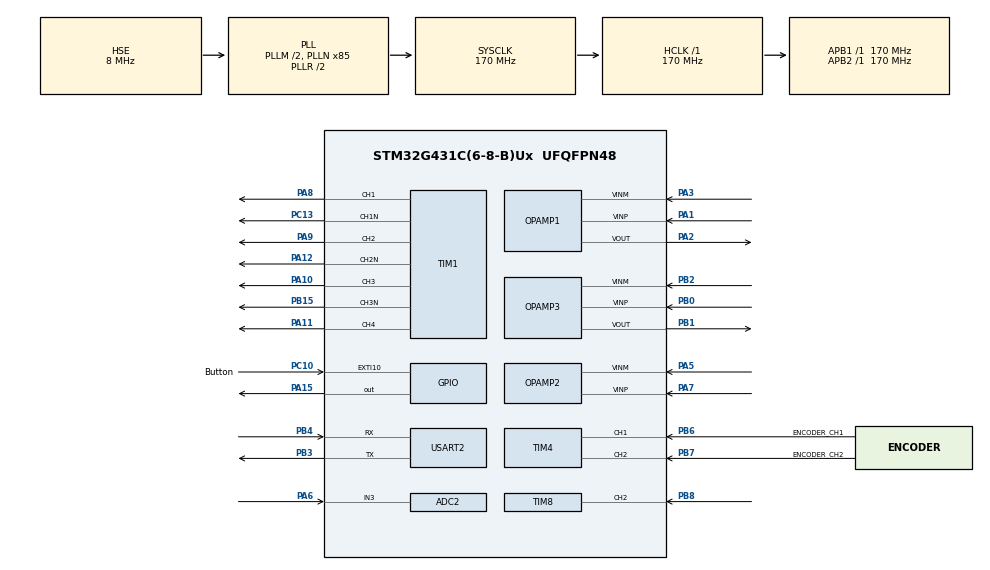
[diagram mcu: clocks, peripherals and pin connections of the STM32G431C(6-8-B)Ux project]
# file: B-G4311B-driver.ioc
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ADC1.ClockPrescaler=ADC_CLOCK_ASYNC_DIV4
ADC1.DataAlign=ADC_DATAALIGN_RIGHT
ADC1.EnableInjectedConversion=ENABLE
ADC1.EnableRegularConversion=DISABLE
ADC1.ExternalTrigInjecConv=ADC_EXTERNALTRIGINJEC_T1_CC4
ADC1.InjNumberOfConversion=2
ADC1.InjectedChannel-2\#ChannelInjectedConversion=ADC_CHANNEL_3
ADC1.InjectedChannel-3\#ChannelInjectedConversion=ADC_CHANNEL_12
ADC1.InjectedOffset-3\#ChannelInjectedConversion=0
ADC1.InjectedOffsetNumber-2\#ChannelInjectedConversion=ADC_OFFSET_NONE
ADC1.InjectedOffsetNumber-3\#ChannelInjectedConversion=ADC_OFFSET_1
ADC1.InjectedOffsetSaturation-3\#ChannelInjectedConversion=ENABLE
ADC1.InjectedOffsetSign-3\#ChannelInjectedConversion=ADC_OFFSET_SIGN_POSITIVE
ADC1.InjectedRank-2\#ChannelInjectedConversion=1
ADC1.InjectedRank-3\#ChannelInjectedConversion=2
ADC1.InjectedSamplingTime-2\#ChannelInjectedConversion=ADC_SAMPLETIME_6CYCLES_5
ADC1.InjectedSamplingTime-3\#ChannelInjectedConversion=ADC_SAMPLETIME_6CYCLES_5
ADC1.master=1
ADC2.ClockPrescaler=ADC_CLOCK_ASYNC_DIV4
ADC2.DataAlign=ADC_DATAALIGN_RIGHT
ADC2.EnableInjectedConversion=ENABLE
ADC2.EnableRegularConversion=DISABLE
ADC2.ExternalTrigInjecConv=ADC_EXTERNALTRIGINJEC_T1_CC4
ADC2.InjNumberOfConversion=1
ADC2.InjectedChannel-1\#ChannelInjectedConversion=ADC_CHANNEL_3
ADC2.InjectedOffset-1\#ChannelInjectedConversion=0
ADC2.InjectedOffsetNumber-1\#ChannelInjectedConversion=ADC_OFFSET_1
ADC2.InjectedOffsetSaturation-1\#ChannelInjectedConversion=ENABLE
ADC2.InjectedOffsetSign-1\#ChannelInjectedConversion=ADC_OFFSET_SIGN_POSITIVE
ADC2.InjectedRank-1\#ChannelInjectedConversion=1
ADC2.InjectedSamplingTime-1\#ChannelInjectedConversion=ADC_SAMPLETIME_6CYCLES_5
ARM.CMSIS.5.6.0.CMSISJjDSP=Library
Mcu.Family=STM32G4
Mcu.Name=STM32G431C(6-8-B)Ux
Mcu.Package=UFQFPN48
NVIC.ADC1_2_IRQn=true\:3\:0\:true\:false\:true\:true\:true
NVIC.EXTI15_10_IRQn=true\:15\:0\:true\:false\:true\:true\:true
NVIC.PriorityGroup=NVIC_PRIORITYGROUP_4
NVIC.TIM4_IRQn=true\:1\:0\:true\:false\:true\:true\:true
NVIC.USART2_IRQn=true\:2\:0\:true\:false\:true\:true\:true
OPAMP1.PgaGain=OPAMP_PGA_GAIN_16_OR_MINUS_15
OPAMP1.SelfCalibration=Enable
OPAMP2.PgaGain=OPAMP_PGA_GAIN_16_OR_MINUS_15
OPAMP2.SelfCalibration=Enable
OPAMP3.PgaGain=OPAMP_PGA_GAIN_16_OR_MINUS_15
OPAMP3.SelfCalibration=Enable
PA0.Signal=ADC1_IN1
PA1.Mode=PGA Connected-INVERTINGINPUT_IO0_BIAS
PA1.Signal=OPAMP1_VINP
PA10.GPIO_PuPd=GPIO_PULLDOWN
PA10.GPIO_Speed=GPIO_SPEED_FREQ_HIGH
PA10.Signal=S_TIM1_CH3
PA11.Signal=S_TIM1_CH4
PA12.GPIO_PuPd=GPIO_PULLDOWN
PA12.GPIO_Speed=GPIO_SPEED_FREQ_HIGH
PA12.Mode=PWM Generation2 CH2 CH2N
PA12.Signal=TIM1_CH2N
PA13.Signal=SYS_JTMS-SWDIO
PA14.Signal=SYS_JTCK-SWCLK
PA15.GPIO_Speed=GPIO_SPEED_FREQ_HIGH
PA15.Signal=GPIO_Output
PA2.Signal=SharedAnalog_PA2
PA3.Mode=PGA Connected-INVERTINGINPUT_IO0_BIAS
PA3.Signal=OPAMP1_VINM
PA5.Mode=PGA Connected-INVERTINGINPUT_IO0_BIAS
PA5.Signal=OPAMP2_VINM
PA6.Signal=SharedAnalog_PA6
PA7.Mode=PGA Connected-INVERTINGINPUT_IO0_BIAS
PA7.Signal=OPAMP2_VINP
PA8.GPIO_PuPd=GPIO_PULLDOWN
PA8.GPIO_Speed=GPIO_SPEED_FREQ_HIGH
PA8.Signal=S_TIM1_CH1
PA9.GPIO_PuPd=GPIO_PULLDOWN
PA9.GPIO_Speed=GPIO_SPEED_FREQ_HIGH
PA9.Signal=S_TIM1_CH2
PB0.Mode=PGA Connected-INVERTINGINPUT_IO0_BIAS
PB0.Signal=OPAMP3_VINP
PB1.Signal=SharedAnalog_PB1
PB15.GPIO_PuPd=GPIO_PULLDOWN
PB15.GPIO_Speed=GPIO_SPEED_FREQ_HIGH
PB15.Mode=PWM Generation3 CH3 CH3N
PB15.Signal=TIM1_CH3N
PB2.Mode=PGA Connected-INVERTINGINPUT_IO0_BIAS
PB2.Signal=OPAMP3_VINM
PB3.GPIO_Speed=GPIO_SPEED_FREQ_HIGH
PB3.Mode=Asynchronous
PB3.Signal=USART2_TX
PB4.GPIO_Speed=GPIO_SPEED_FREQ_HIGH
PB4.Mode=Asynchronous
PB4.Signal=USART2_RX
PB6.GPIO_Label=ENCODER_CH1
PB6.GPIO_ModeDefaultPP=GPIO_MODE_AF_PP
PB6.GPIO_PuPd=GPIO_PULLDOWN
PB6.GPIO_Speed=GPIO_SPEED_FREQ_HIGH
PB6.Signal=S_TIM4_CH1
PB7.GPIO_Label=ENCODER_CH2
PB7.GPIO_ModeDefaultPP=GPIO_MODE_AF_PP
PB7.GPIO_PuPd=GPIO_PULLDOWN
PB7.GPIO_Speed=GPIO_SPEED_FREQ_HIGH
PB7.Signal=S_TIM4_CH2
PB8-BOOT0.GPIO_ModeDefaultPP=GPIO_MODE_AF_PP
PB8-BOOT0.GPIO_PuPd=GPIO_PULLDOWN
PB8-BOOT0.GPIO_Speed=GPIO_SPEED_FREQ_HIGH
PB8-BOOT0.Signal=S_TIM8_CH2
PC10.GPIO_Label=Button
PC10.Signal=GPXTI10
PC13.GPIO_PuPd=GPIO_PULLDOWN
PC13.Mode=PWM Generation1 CH1 CH1N
PC13.Signal=TIM1_CH1N
PF0-OSC_IN.Mode=HSE-External-Oscillator
PF0-OSC_IN.Signal=RCC_OSC_IN
PF1-OSC_OUT.Mode=HSE-External-Oscillator
PF1-OSC_OUT.Signal=RCC_OSC_OUT
ProjectManager.HeapSize=0x200
ProjectManager.StackSize=0x400
ProjectManager.TargetToolchain=STM32CubeIDE
RCC.ADC12Freq_Value=170000000
RCC.AHBFreq_Value=170000000
RCC.APB1Freq_Value=170000000
RCC.APB1TimFreq_Value=170000000
RCC.APB2Freq_Value=170000000
RCC.APB2TimFreq_Value=170000000
RCC.CortexFreq_Value=170000000
RCC.EXTERNAL_CLOCK_VALUE=12288000
RCC.HCLKFreq_Value=170000000
RCC.HSE_VALUE=8000000
RCC.HSI48_VALUE=48000000
RCC.HSI_VALUE=16000000
RCC.LSE_VALUE=32768
RCC.PLLM=RCC_PLLM_DIV2
RCC.PLLN=85
RCC.PLLSourceVirtual=RCC_PLLSOURCE_HSE
RCC.SYSCLKFreq_VALUE=170000000
RCC.SYSCLKSource=RCC_SYSCLKSOURCE_PLLCLK
RCC.USBFreq_Value=170000000
RCC.VCOOutputFreq_Value=340000000
SH.S_TIM1_CH1.0=TIM1_CH1,PWM Generation1 CH1 CH1N
SH.S_TIM1_CH2.0=TIM1_CH2,PWM Generation2 CH2 CH2N
SH.S_TIM1_CH3.0=TIM1_CH3,PWM Generation3 CH3 CH3N
SH.S_TIM1_CH4.0=TIM1_CH4,PWM Generation4 CH4
SH.S_TIM4_CH1.0=TIM4_CH1,Encoder_Interface
SH.S_TIM4_CH2.0=TIM4_CH2,Encoder_Interface
SH.S_TIM8_CH2.0=TIM8_CH2,Input_Capture2_from_TI2
SH.S_TIM8_CH2.1=TIM8_CH2,TriggerSource_TI2FP2
SH.SharedAnalog_PA2.0=OPAMP1_VOUT,PGA Connected-INVERTINGINPUT_IO0_BIAS
SH.SharedAnalog_PA2.1=ADC1_IN3,IN3-Single-Ended
SH.SharedAnalog_PA6.0=ADC2_IN3,IN3-Single-Ended
SH.SharedAnalog_PA6.1=OPAMP2_VOUT,PGA Connected-INVERTINGINPUT_IO0_BIAS
SH.SharedAnalog_PB1.0=OPAMP3_VOUT,PGA Connected-INVERTINGINPUT_IO0_BIAS
SH.SharedAnalog_PB1.1=ADC1_IN12,IN12-Single-Ended
TIM1.Break2Filter=3
TIM1.Channel-PWM\ Generation1\ CH1\ CH1N=TIM_CHANNEL_1
TIM1.Channel-PWM\ Generation2\ CH2\ CH2N=TIM_CHANNEL_2
TIM1.Channel-PWM\ Generation3\ CH3\ CH3N=TIM_CHANNEL_3
TIM1.Channel-PWM\ Generation4\ CH4=TIM_CHANNEL_4
TIM1.CounterMode=TIM_COUNTERMODE_CENTERALIGNED1
TIM1.DeadTime=(DEAD_TIME_COUNTS) / 2
TIM1.LockLevel=TIM_LOCKLEVEL_OFF
TIM1.OCMode_PWM-PWM\ Generation4\ CH4=TIM_OCMODE_PWM2
TIM1.OffStateIDLEMode=TIM_OSSI_ENABLE
TIM1.OffStateRunMode=TIM_OSSR_ENABLE
TIM1.RepetitionCounter=0
TIM1.TIM_MasterOutputTrigger=TIM_TRGO_OC4REF
TIM4.EncoderMode=TIM_ENCODERMODE_X1_TI1
TIM4.TIM_MasterOutputTrigger=TIM_TRGO_UPDATE
TIM8.Channel-Input_Capture2_from_TI2=TIM_CHANNEL_2
USART2.VirtualMode-Asynchronous=VM_ASYNC
VP_ARM.CMSIS_VS_CMSISJjDSP_1.7.0.Mode=CMSISJjDSP
VP_SYS_VS_DBSignals.Mode=DisableDeadBatterySignals
VP_TIM1_VS_ClockSourceINT.Mode=Internal
VP_TIM2_VS_ClockSourceITR.Mode=TriggerSource_ITR3
VP_TIM2_VS_ControllerModeClock.Mode=Clock Mode
VP_TIM8_VS_ClockSourceINT.Mode=Internal
VP_TIM8_VS_ControllerModeReset.Mode=Reset Mode
board=custom

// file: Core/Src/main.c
/* USER CODE BEGIN Header */
/**
  ******************************************************************************
  * @file           : main.c
  * @brief          : Main program body
  ******************************************************************************
  * @attention
  *
  * <h2><center>&copy; Copyright (c) 2020 STMicroelectronics.
  * All rights reserved.</center></h2>
  *
  * This software component is licensed by ST under BSD 3-Clause license,
  * the "License"; You may not use this file except in compliance with the
  * License. You may obtain a copy of the License at:
  *                        opensource.org/licenses/BSD-3-Clause
  *
  ******************************************************************************
  */
/* USER CODE END Header */

#include "main.h"
#include "adc.h"
#include "opamp.h"
#include "tim.h"
#include "usart.h"
#include "gpio.h"

/* USER CODE BEGIN Includes */
#include "moja_konfiguracja.h"
#include "stdint.h"
#include "arm_math.h"
#include "math.h"
#include "cJSON.h"
#include "stdio.h"
#include "stdlib.h"

/* USER CODE END Includes */

/* USER CODE BEGIN PV */

////////////??????????????????????????????????/////////////////////////////////////////////////////////

volatile float32_t t1,t2,t3;

//////////// MAIN_COMMON/////////////////////////////////////////////////////////
volatile uint8_t sector;
volatile float32_t angle_current_deg,angle_current_rad, angle_rotor_deg,angle_rotor_rad;
volatile float32_t pSinVal,pCosVal;
volatile float32_t Vref;
volatile uint8_t start,licznik;
volatile uint8_t direction;
volatile int32_t counter_angle;

//////////// MAIN_COMMON/////////////////////////////////////////////////////////

//////////// PID /////////////////////////////////////////////////////////
volatile float32_t Ialpha,Ibeta,Id,Iq;
volatile float32_t Valpha,Vbeta,Vd,Vq,Vd_prev,Vq_prev;

volatile float32_t set_d, ed;
volatile arm_pid_instance_f32 pid_d;

volatile float32_t set_q, eq;
volatile arm_pid_instance_f32 pid_q;

volatile float32_t current_limit_max_iq;

//////////// PID /////////////////////////////////////////////////////////

//////////// SPEED PID /////////////////////////////////////////////////////////
volatile float32_t set_speed, e_speed, speed, set_sp;
volatile arm_pid_instance_f32 pid_iq_speed;
volatile float32_t iq_speed, iq_speed_prev;
volatile uint32_t capture_tim8_ccr2;
volatile uint32_t index_speed_loop;
//////////// SPEED PID /////////////////////////////////////////////////////////

//////////// ANGLE PID /////////////////////////////////////////////////////////

volatile int32_t set_angle, e_angle, angle_prev,angle;
volatile arm_pid_instance_f32 pid_angle;
volatile char allow_angle[5];
volatile uint32_t index_angle_loop, index_rev;
volatile float32_t angle_speed;
//////////// ANGLE PID /////////////////////////////////////////////////////////

//////////// ADC /////////////////////////////////////////////////////////
volatile int32_t adc_Ia,adc_Ib,adc_Ic,adc_V,offset1,offset2,offset3;
volatile uint32_t index_event_adc;
volatile float32_t Ia,Ib,Ic;
volatile int32_t sum_currents;

//////////// ADC /////////////////////////////////////////////////////////

//////////// Timer 1/////////////////////////////////////////////////////////
uint8_t tim1_ch1,tim1_ch1n,tim1_ch2,tim1_ch2n,tim1_ch3,tim1_ch3n,tim1_ch4;
volatile uint32_t index_event_timer1;
//////////// Timer 1////////////////////////////////////////////////////////

//////////// SVPWM//////////////////////////////////////////////////////////////
volatile float32_t sv_T[3];  // [0] - T0 , [1]- T1, [2]- T2
volatile float32_t sv_T_gate[4]; // [3]- T1+T2+T0/2, [1]- T1+T0/2, [2]- T2+T0/2, T[0]=T0/2
volatile float32_t sv_S1; // switch CH1, CH2  ,CH3
volatile float32_t sv_S2;
volatile float32_t sv_S3;
//////////// SVPWM//////////////////////////////////////////////////////////////

//////////// USART 2////////////////////////////////////////////////////////
volatile uint8_t jstring[size_uart_tab];
volatile uint16_t index_uart;
volatile uint8_t recive;
volatile static uint8_t config;
volatile uint8_t startstop,settings;
//////////// USART 2////////////////////////////////////////////////////////

/* USER CODE END PV */

void SystemClock_Config(void);
/* USER CODE BEGIN PFP */

void start_up(void)
{

	 if(HAL_OK== ((HAL_ADCEx_Calibration_Start(&hadc1, ADC_SINGLE_ENDED)) && (HAL_ADCEx_Calibration_Start(&hadc2, ADC_SINGLE_ENDED))) )
	   {
		if(HAL_OK== (HAL_OPAMPEx_SelfCalibrateAll(&hopamp1, &hopamp2, &hopamp3)))
		{

			//////// konfiguracja Timer 1  //////////////////////////
			TIM1->ARR= TIM1_ARR;
			TIM1->PSC= TIM1_PSC;

			TIM1->CCR1=(TIM1->ARR/10);
			TIM1->CCR2=0;
			TIM1->CCR3=0;
			TIM1->CCR4=TIM1_CCR4;

			HAL_TIM_PWM_Start(&htim1, TIM_CHANNEL_1);
			HAL_TIMEx_PWMN_Start(&htim1, TIM_CHANNEL_1);
			HAL_TIM_PWM_Start(&htim1, TIM_CHANNEL_2);
			HAL_TIMEx_PWMN_Start(&htim1, TIM_CHANNEL_2);
			HAL_TIM_PWM_Start(&htim1, TIM_CHANNEL_3);
			HAL_TIMEx_PWMN_Start(&htim1, TIM_CHANNEL_3);
			//HAL_TIM_PWM_Start(&htim1, TIM_CHANNEL_4);

			HAL_Delay(800);

			//////// konfiguracja Timer 4 - encoder ///////////////////
			TIM4->ARR= TIM4_ARR;
			TIM4->PSC= TIM4_PSC;
			HAL_TIM_Base_Start_IT(&htim4);
			HAL_TIM_Encoder_Start_IT(&htim4, TIM_CHANNEL_1);
			HAL_TIM_Encoder_Start_IT(&htim4, TIM_CHANNEL_2);
			//////// konfiguracja Timer 4 - encoder ///////////////////

			HAL_Delay(400);

			TIM1->CCR1=0;
			TIM1->CCR2=0;
			TIM1->CCR3=0;

			HAL_Delay(200);

			//////// konfiguracja Timer 8  ///////////////////
			TIM8->ARR= TIM8_ARR;
			TIM8->PSC= TIM8_PSC;
			HAL_TIM_IC_Start(&htim8, TIM_CHANNEL_2);

			//////// konfiguracja Timer 2  ///////////////////
			//TIM2->ARR=0xFFFF;
			//HAL_TIM_Base_Start(&htim2);

			//////// start ADC 1 2 ///////////////////////////////////
			HAL_OPAMP_Start(&hopamp1);
			HAL_OPAMP_Start(&hopamp2);
			HAL_OPAMP_Start(&hopamp3);
			//////// start ADC 1 2 ///////////////////////////////////
			HAL_ADCEx_InjectedStart_IT(&hadc1);
			HAL_ADCEx_InjectedStart_IT(&hadc2);

			/////////// inicjalizacja pid_d ////////////////
			set_d=0;
			pid_d.Kp=1;
			pid_d.Ki=1;
			pid_d.Kd=0;
			arm_pid_init_f32(&pid_d, 1);

			/////////// inicjalizacja pid_q ////////////////
			set_q=0.7;
			pid_q.Kp=4;
			pid_q.Ki=1;
			pid_q.Kd=0;
			arm_pid_init_f32(&pid_q, 1);

			/////////// inicjalizacja pid_speed ////////////////
			set_speed=2200;
			pid_iq_speed.Kp=5;
			pid_iq_speed.Ki=5;
			pid_iq_speed.Kd=0;
			arm_pid_init_f32(&pid_iq_speed, 1);

			/////////// inicjalizacja pid_speed ////////////////
			set_angle=20000;
			pid_angle.Kp=5;
			pid_angle.Ki=5;
			pid_angle.Kd=0;
			arm_pid_init_f32(&pid_angle, 1);
		}

	   }

}

void start1(void)
{

			HAL_TIM_PWM_Start(&htim1, TIM_CHANNEL_1);
			HAL_TIMEx_PWMN_Start(&htim1, TIM_CHANNEL_1);
			HAL_TIM_PWM_Start(&htim1, TIM_CHANNEL_2);
			HAL_TIMEx_PWMN_Start(&htim1, TIM_CHANNEL_2);
			HAL_TIM_PWM_Start(&htim1, TIM_CHANNEL_3);
			HAL_TIMEx_PWMN_Start(&htim1, TIM_CHANNEL_3);
			HAL_TIM_PWM_Start(&htim1, TIM_CHANNEL_4);

}

void stop(void)
{

	TIM1->CCR1=0;
	TIM1->CCR2=0;
	TIM1->CCR3=0;

	HAL_TIM_PWM_Stop(&htim1, TIM_CHANNEL_1);
	HAL_TIMEx_PWMN_Stop(&htim1, TIM_CHANNEL_1);
	HAL_TIM_PWM_Stop(&htim1, TIM_CHANNEL_2);
	HAL_TIMEx_PWMN_Stop(&htim1, TIM_CHANNEL_2);
	HAL_TIM_PWM_Stop(&htim1, TIM_CHANNEL_3);
	HAL_TIMEx_PWMN_Stop(&htim1, TIM_CHANNEL_3);
	HAL_TIM_PWM_Stop(&htim1, TIM_CHANNEL_4);

	arm_pid_reset_f32(&pid_d);
	arm_pid_reset_f32(&pid_q);
	arm_pid_reset_f32(&pid_iq_speed);
	arm_pid_reset_f32(&pid_angle);

}

void AlphaBeta_To_Angle_Vref(float32_t alpha,float32_t beta,float32_t *angle_current_rad,float32_t *Vref)
{
	*angle_current_rad = atan2f(beta,alpha);
	arm_sqrt_f32( ((alpha*alpha)+(beta*beta)), Vref);

	 if(*Vref>=sv_Vdc_limit)  // saturacja Vref
	    	*Vref=sv_Vdc_limit;
}

void Angle_To_Sector(float32_t angle_current_rad,uint8_t *sector)
{

	if((angle_current_rad>0) && (angle_current_rad<=1.047197)) // pi/3
		*sector=1;
	else if((angle_current_rad>1.047197) && (angle_current_rad<=2.094395)) //2/3*pi
		*sector=2;
	else if((angle_current_rad>2.094395) && (angle_current_rad<=3.141593))
		*sector=3;
	else if((angle_current_rad>-3.141593) && (angle_current_rad<=-2.094395))
		*sector=4;
	else if((angle_current_rad>-2.094395) && (angle_current_rad<=-1.047197))
		*sector=5;
	else if ((angle_current_rad>-1.047197) && (angle_current_rad<=0))
		*sector=6;
	else{}

}

void SVPWM(uint8_t sector,float32_t angle_current_rad,float32_t Vref, float32_t T[], float32_t T_gate[], float32_t *S1,float32_t *S2,float32_t *S3)
{

	T[1]=sv_modulation * ((Vref * sv_Tz)/sv_Vdc_limit) * arm_sin_f32((sector * 1.047197) - (angle_current_rad)); /// pi/3 = 1,0472
	T[2]=sv_modulation * ((Vref * sv_Tz)/sv_Vdc_limit) * arm_sin_f32((-(sector-1) * 1.047197) +  angle_current_rad) ;
	T[0]=sv_Tz-T[1]-T[2];

	t1=T[1];
	t2=T[2];
	t3=T[0];

	T_gate[0]= (T[0]/2);
	T_gate[1]= T[1]+(T_gate[0]);
	T_gate[2]= T[2]+(T_gate[0]);
	T_gate[3]= T[1]+T[2]+(T_gate[0]);

	if(sector == 1)
	{
		*S1=T_gate[3];
		*S2=T_gate[2];
		*S3=T_gate[0];
	}
	else if(sector == 2)
	{
		*S1=T_gate[1];
		*S2=T_gate[3];
		*S3=T_gate[0];
	}
	else if(sector == 3)
	{
		*S1=T_gate[0];
		*S2=T_gate[3];
		*S3=T_gate[2];
	}
	else if(sector == 4)
	{
		*S1=T_gate[0];
		*S2=T_gate[1];
		*S3=T_gate[3];
	}
	else if(sector == 5)
	{
		*S1=T_gate[2];
		*S2=T_gate[0];
		*S3=T_gate[3];
	}
	else if(sector == 6)
	{
		*S1=T_gate[3];
		*S2=T_gate[0];
		*S3=T_gate[1];
	}
	else{}

}

void HAL_ADCEx_InjectedConvCpltCallback(ADC_HandleTypeDef *hadc)
{

// obliczanie prędkości wirnika
	capture_tim8_ccr2= TIM8->CCR2;
	speed=revolution_per_min/capture_tim8_ccr2;

	if(direction!=0)  // jeżeli
	speed=-speed;

	adc_Ia= HAL_ADCEx_InjectedGetValue(&hadc1, ADC_INJECTED_RANK_1);
    while((hadc1.Instance->ISR &= (0x1<<5))!=0){}
    adc_Ic =HAL_ADCEx_InjectedGetValue(&hadc1, ADC_INJECTED_RANK_2);
	while((hadc1.Instance->ISR &= (0x1<<5))!=0){}
	adc_Ib =HAL_ADCEx_InjectedGetValue(&hadc2, ADC_INJECTED_RANK_1);
	while((hadc2.Instance->ISR &= (0x1<<5))!=0){}
	//adc_V =HAL_ADCEx_InjectedGetValue(&hadc2, ADC_INJECTED_RANK_2);
	//while((hadc2.Instance->ISR &= (0x1<<5))!=0){}

	if(index_event_adc<300)
	{
		Ia=0;
		Ib=0;
		Ic=0;
		index_event_adc++;

	}
	else if(index_event_adc == 300)
	{
			   offset1=adc_Ia;
			   offset2=adc_Ib;
			   offset3=adc_Ic;
			   index_event_adc++;
	}
	else
	{

	    adc_Ia=(adc_Ia-offset1);
	    adc_Ib=(adc_Ib-offset2);
	    adc_Ic=(adc_Ic-offset3);

	    Ia=-adc_Ia/33.0;
	    Ib=-adc_Ib/33.0;
	    Ic=-adc_Ic/33.0;

	        arm_clarke_f32(Ia, Ib, &Ialpha, &Ibeta);
	    	angle_rotor_deg=TIM4->CCR1;

	    	arm_sin_cos_f32(angle_rotor_deg, &pSinVal, &pCosVal);
	    	arm_park_f32(Ialpha, Ibeta, &Id, &Iq, pSinVal, pCosVal);

	    	// obliczanie położenia wirnika

	    	if(counter_angle>=0)
	    		angle=angle_rotor_deg + (counter_angle * 360);
	    	else
	    		angle=-angle_rotor_deg + (counter_angle * 360);

	    	// pid angle

	    						if(allow_angle[0]=='y')
	    						{

	    							index_angle_loop++;
	    							if(index_angle_loop==1)
	    								{

	    								  e_angle=set_angle-angle;
	    								  angle_prev=pid_angle.state[2];
	    								  angle_speed=arm_pid_f32(&pid_angle, e_angle);

	    		    						if(angle_speed>=set_speed)
	    		    						{
	    		    							pid_angle.state[2]=angle_prev;
	    		    							angle_speed=set_speed;
	    		    						}

	    		    						if(angle_speed<=(-set_speed))
	    		    						{
	    		    							pid_angle.state[2]=angle_prev;
	    		    							angle_speed=(-set_speed);
	    		    						}
	    		    						set_sp= angle_speed;

	    								}

	    							if(index_angle_loop==10)
	    								index_angle_loop=0;

	    						}
	    						else
	    						{
	    							index_angle_loop=0;
	    							set_sp=set_speed;

	    						}

	    	// pid speed
	   							index_speed_loop++;
	   							if(index_speed_loop==1)
	   							{

	    						e_speed=set_sp-speed;
	    						iq_speed_prev=pid_iq_speed.state[2];
	    						iq_speed=arm_pid_f32(&pid_iq_speed, e_speed);
	    	// saturacja i anty-wind-up
	    						if(iq_speed>=current_limit_max_iq)
	    						{
	    							pid_iq_speed.state[2]=iq_speed_prev;
	    							iq_speed=current_limit_max_iq;
	    						}

	    						if(iq_speed<=(-current_limit_max_iq))
	    						{
	    							pid_iq_speed.state[2]=iq_speed_prev;
	    							iq_speed=(-current_limit_max_iq);
	    						}
	   							}
	   							if(index_speed_loop==5)
	   								index_speed_loop=0;

	    	// pid dla osi d
	    						ed=set_d-Id;
	    						Vd_prev=pid_d.state[2];
	    						Vd=arm_pid_f32(&pid_d, ed);
	    	// saturacja i anty-wind-up
	    						if(Vd>=sv_Vdc_limit)
	    						{
	    							pid_d.state[2]=Vd_prev;
	    							Vd=sv_Vdc_limit;
	    						}

	    						if(Vd<=(-sv_Vdc_limit))
	    						{
	    							pid_d.state[2]=Vd_prev;
	    							Vd=(-sv_Vdc_limit);
	    						}

	    	// pid dla osi q
	    						//eq=set_q-Iq;
	    						eq=iq_speed-Iq;
	    						Vq_prev=pid_q.state[2];
	    						Vq=arm_pid_f32(&pid_q, eq);
	    	// saturacja i anty-wind-up
	    						if(Vq>=sv_Vdc_limit)
	    						{
	    						pid_q.state[2]=Vq_prev;
	    						Vq=sv_Vdc_limit;
	    						}

	    						if(Vq<=(-sv_Vdc_limit))
	    						{
	    						pid_q.state[2]=Vq_prev;
	    						Vq=(-sv_Vdc_limit);
	    						}

	    	//angle_rotor_deg=TIM4->CCR1;
	    	//arm_sin_cos_f32(angle_rotor_deg, &pSinVal, &pCosVal);
	    	arm_inv_park_f32(Vd, Vq, &Valpha, &Vbeta, pSinVal, pCosVal);

	    	AlphaBeta_To_Angle_Vref(Valpha, Vbeta, &angle_current_rad, &Vref);
	    	Angle_To_Sector(angle_current_rad, &sector);
	    	SVPWM(sector, angle_current_rad , Vref, sv_T, sv_T_gate, &sv_S1, &sv_S2, &sv_S3);

	    	TIM1->CCR1 = sv_S1;
	    	TIM1->CCR2 = sv_S2;
	    	TIM1->CCR3 = sv_S3;

	}

	 HAL_ADCEx_InjectedStart_IT(&hadc1);
	 HAL_ADCEx_InjectedStart_IT(&hadc2);
}

void HAL_GPIO_EXTI_Callback(uint16_t GPIO_Pin)
{
	if(GPIO_Pin==GPIO_PIN_10)
	{
		if(config==0)
		{
			config=1;
			start_up();
		}

		if(start==0)
		{
			start=1;
			start1();

		}
		else
		{
			start=0;
			stop();

		}
	}
}

void HAL_TIM_PeriodElapsedCallback(TIM_HandleTypeDef *htim)
{
	if(htim->Instance==TIM4)
	{
		if(direction==0)
			counter_angle++;
		else
			counter_angle--;

	}

}

void HAL_UART_RxCpltCallback(UART_HandleTypeDef *huart)
{
	if(huart->Instance==USART2)
	{

		if(config==0)
		{
			config=1;
			start_up();
		}

		/////////// parse JSON ///////////////////////////////
		 cJSON * root = cJSON_Parse((char *)jstring);

		 cJSON * set = cJSON_GetObjectItemCaseSensitive(root, "set");
		 settings =  atoi(cJSON_GetStringValue(set));

		 if(settings==0)
		 {

			 cJSON * start_stop = cJSON_GetObjectItemCaseSensitive(root, "start_stop");
			 startstop =  atoi(cJSON_GetStringValue(start_stop));

			 if(startstop==1)
				 start1();
			 else
				 stop();

		 }

		 else
		 {

			 cJSON * speed = cJSON_GetObjectItemCaseSensitive(root, "speed");
			 set_speed =  atoi(cJSON_GetStringValue(speed));

			 cJSON * current = cJSON_GetObjectItemCaseSensitive(root, "current");
			 sscanf(cJSON_GetStringValue(current),"%f",&current_limit_max_iq);

			 cJSON * iq_Kp = cJSON_GetObjectItemCaseSensitive(root, "iq_Kp");
			 pid_q.Kp =  atoi(cJSON_GetStringValue(iq_Kp));

			 cJSON * iq_Ki = cJSON_GetObjectItemCaseSensitive(root, "iq_Ki");
			 pid_q.Ki =  atoi(cJSON_GetStringValue(iq_Ki));

			 cJSON * iq_Kd = cJSON_GetObjectItemCaseSensitive(root, "iq_Kd");
			 pid_q.Kd =  atoi(cJSON_GetStringValue(iq_Kd));

			 cJSON * id_Kp = cJSON_GetObjectItemCaseSensitive(root, "id_Kp");
			 pid_d.Kp =  atoi(cJSON_GetStringValue(id_Kp));

			 cJSON * id_Ki = cJSON_GetObjectItemCaseSensitive(root, "id_Ki");
			 pid_d.Ki =  atoi(cJSON_GetStringValue(id_Ki));

			 cJSON * id_Kd = cJSON_GetObjectItemCaseSensitive(root, "id_Kd");
			 pid_d.Kd =  atoi(cJSON_GetStringValue(id_Kd));

			 cJSON * speed_Kp = cJSON_GetObjectItemCaseSensitive(root, "speed_Kp");
			 pid_iq_speed.Kp =  atoi(cJSON_GetStringValue(speed_Kp));

			 cJSON * speed_Ki = cJSON_GetObjectItemCaseSensitive(root, "speed_Ki");
			 pid_iq_speed.Ki =  atoi(cJSON_GetStringValue(speed_Ki));

			 cJSON * speed_Kd = cJSON_GetObjectItemCaseSensitive(root, "speed_Kd");
			 pid_iq_speed.Kd =  atoi(cJSON_GetStringValue(speed_Kd));

			 cJSON * a_set = cJSON_GetObjectItemCaseSensitive(root, "a_set");
			 //strcpy((cJSON_GetStringValue(a_set)), allow_angle);
			 sprintf(allow_angle, "%s",(char *)(cJSON_GetStringValue(a_set)));

			 cJSON * angle = cJSON_GetObjectItemCaseSensitive(root, "angle");
			 set_angle =  atoi(cJSON_GetStringValue(angle));

			 cJSON * a_Kp = cJSON_GetObjectItemCaseSensitive(root, "a_Kp");
			 pid_angle.Kp =  atoi(cJSON_GetStringValue(a_Kp));

			 cJSON * a_Ki = cJSON_GetObjectItemCaseSensitive(root, "a_Ki");
			 pid_angle.Ki =  atoi(cJSON_GetStringValue(a_Ki));

			 cJSON * a_Kd = cJSON_GetObjectItemCaseSensitive(root, "a_Kd");
			 pid_angle.Kd =  atoi(cJSON_GetStringValue(a_Kd));

			arm_pid_init_f32(&pid_d, 1);
			arm_pid_init_f32(&pid_q, 1);
			arm_pid_init_f32(&pid_iq_speed, 1);
			arm_pid_init_f32(&pid_angle, 1);

	     cJSON_Delete(root);
		 }

		HAL_UART_Receive_IT(&huart2, jstring ,size_uart_tab);

	}
}

/* USER CODE END PFP */

int main(void)
{

  /* MCU Configuration--------------------------------------------------------*/

  /* Reset of all peripherals, Initializes the Flash interface and the Systick. */
  HAL_Init();

  /* Configure the system clock */
  SystemClock_Config();

  /* Initialize all configured peripherals */
  MX_GPIO_Init();
  MX_TIM1_Init();
  MX_TIM4_Init();
  MX_USART2_UART_Init();
  MX_ADC1_Init();
  MX_ADC2_Init();
  MX_OPAMP1_Init();
  MX_OPAMP2_Init();
  MX_OPAMP3_Init();
  MX_TIM8_Init();
  MX_TIM2_Init();
  /* USER CODE BEGIN 2 */

  HAL_UART_Receive_IT(&huart2, jstring ,size_uart_tab);

  // start_up();

  /* USER CODE END 2 */

  /* Infinite loop */
  /* USER CODE BEGIN WHILE */
  while (1)
  {
	  direction= (TIM4->CR1 & 0x10); // 0x10 to piąty bit kierunku liczenia enkodera (up/down)

    /* USER CODE END WHILE */

  }
}

void SystemClock_Config(void)
{
  RCC_OscInitTypeDef RCC_OscInitStruct = {0};
  RCC_ClkInitTypeDef RCC_ClkInitStruct = {0};
  RCC_PeriphCLKInitTypeDef PeriphClkInit = {0};

  /** Configure the main internal regulator output voltage
  */
  HAL_PWREx_ControlVoltageScaling(PWR_REGULATOR_VOLTAGE_SCALE1_BOOST);
  /** Initializes the CPU, AHB and APB busses clocks
  */
  RCC_OscInitStruct.OscillatorType = RCC_OSCILLATORTYPE_HSE;
  RCC_OscInitStruct.HSEState = RCC_HSE_ON;
  RCC_OscInitStruct.PLL.PLLState = RCC_PLL_ON;
  RCC_OscInitStruct.PLL.PLLSource = RCC_PLLSOURCE_HSE;
  RCC_OscInitStruct.PLL.PLLM = RCC_PLLM_DIV2;
  RCC_OscInitStruct.PLL.PLLN = 85;
  RCC_OscInitStruct.PLL.PLLP = RCC_PLLP_DIV2;
  RCC_OscInitStruct.PLL.PLLQ = RCC_PLLQ_DIV2;
  RCC_OscInitStruct.PLL.PLLR = RCC_PLLR_DIV2;
  if (HAL_RCC_OscConfig(&RCC_OscInitStruct) != HAL_OK)
  {
    Error_Handler();
  }
  /** Initializes the CPU, AHB and APB busses clocks
  */
  RCC_ClkInitStruct.ClockType = RCC_CLOCKTYPE_HCLK|RCC_CLOCKTYPE_SYSCLK
                              |RCC_CLOCKTYPE_PCLK1|RCC_CLOCKTYPE_PCLK2;
  RCC_ClkInitStruct.SYSCLKSource = RCC_SYSCLKSOURCE_PLLCLK;
  RCC_ClkInitStruct.AHBCLKDivider = RCC_SYSCLK_DIV1;
  RCC_ClkInitStruct.APB1CLKDivider = RCC_HCLK_DIV1;
  RCC_ClkInitStruct.APB2CLKDivider = RCC_HCLK_DIV1;

  if (HAL_RCC_ClockConfig(&RCC_ClkInitStruct, FLASH_LATENCY_8) != HAL_OK)
  {
    Error_Handler();
  }
  /** Initializes the peripherals clocks
  */
  PeriphClkInit.PeriphClockSelection = RCC_PERIPHCLK_USART2|RCC_PERIPHCLK_ADC12;
  PeriphClkInit.Usart2ClockSelection = RCC_USART2CLKSOURCE_PCLK1;
  PeriphClkInit.Adc12ClockSelection = RCC_ADC12CLKSOURCE_SYSCLK;
  if (HAL_RCCEx_PeriphCLKConfig(&PeriphClkInit) != HAL_OK)
  {
    Error_Handler();
  }
}

void Error_Handler(void)
{
}

/************************ (C) COPYRIGHT STMicroelectronics *****END OF FILE****/
